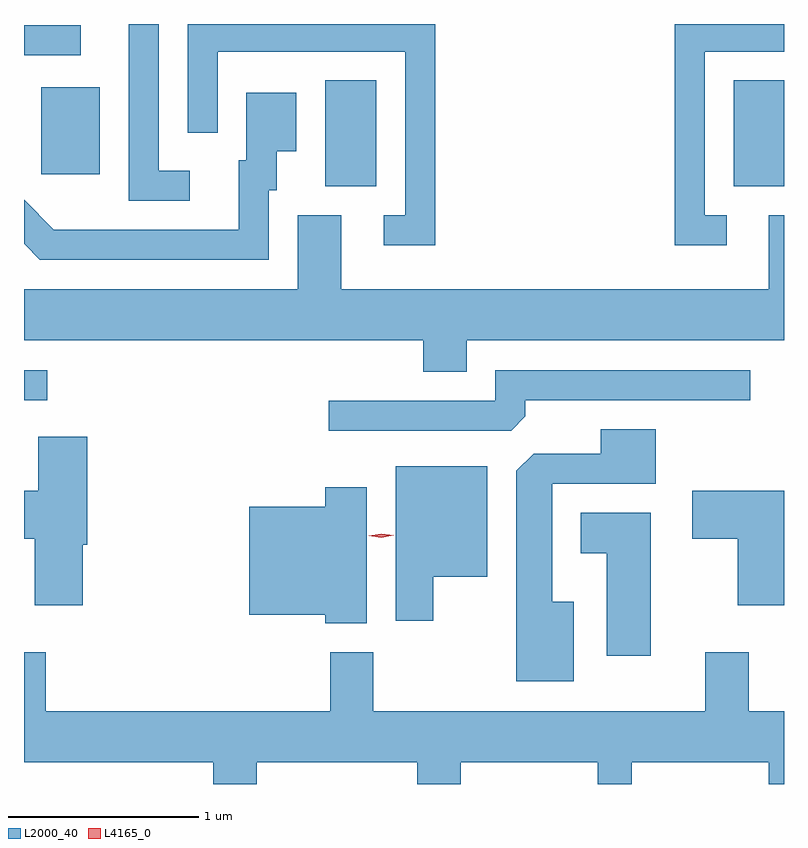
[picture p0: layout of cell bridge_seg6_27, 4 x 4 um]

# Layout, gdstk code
import gdstk
lib = gdstk.Library(unit=1e-6, precision=1e-09)
def R(c, l, rs):  # rectangles x0, y0, x1, y1
    for r in rs: c.add(gdstk.rectangle(r[:2], r[2:], *l))
def P(c, l, *ps):  # polygons
    for p in ps: c.add(gdstk.Polygon(p, *l))
L2000_40 = (2000, 40)
L4165_0 = (4165, 0)

bridge_seg6_27 = lib.new_cell('bridge_seg6_27')
R(bridge_seg6_27, L2000_40, [(1788.06,1649.621,1788.183,1649.779), (1789.646,1650.746,1789.914,1651.304), (1791.796,1650.746,1792.06,1651.304), (1788.151,1650.811,1788.459,1651.269), (1788.06,1651.436,1788.358,1651.594)])
P(bridge_seg6_27, L2000_40, [(1788.933,1650.829),(1788.769,1650.829),(1788.769,1651.601),(1788.611,1651.601),(1788.611,1650.671),(1788.933,1650.671)],
  [(1791.758,1650.594),(1791.644,1650.594),(1791.644,1651.456),(1792.06,1651.456),(1792.06,1651.601),(1791.486,1651.601),(1791.486,1650.436),(1791.758,1650.436)],
  [(1790.224,1651.601),(1788.921,1651.601),(1788.921,1651.028),(1789.079,1651.028),(1789.079,1651.456),(1790.066,1651.456),(1790.066,1650.594),(1789.953,1650.594),(1789.953,1650.436),(1790.224,1650.436)],
  [(1789.349,1650.726),(1789.389,1650.726),(1789.389,1650.931),(1789.494,1650.931),(1789.494,1651.239),(1789.231,1651.239),(1789.231,1650.884),(1789.191,1650.884),(1789.191,1650.519),(1788.217,1650.519),(1788.06,1650.676),(1788.06,1650.445),(1788.144,1650.361),(1789.349,1650.361)],
  [(1790.389,1649.936),(1792.06,1649.936),(1792.06,1650.594),(1791.981,1650.594),(1791.981,1650.204),(1789.729,1650.204),(1789.729,1650.594),(1789.501,1650.594),(1789.501,1650.204),(1788.06,1650.204),(1788.06,1649.936),(1790.161,1649.936),(1790.161,1649.771),(1790.389,1649.771)],
  [(1790.699,1649.537),(1790.699,1649.621),(1791.883,1649.621),(1791.883,1649.779),(1790.541,1649.779),(1790.541,1649.619),(1789.663,1649.619),(1789.663,1649.461),(1790.624,1649.461)],
  [(1790.954,1648.559),(1790.839,1648.559),(1790.839,1649.181),(1791.384,1649.181),(1791.384,1649.469),(1791.096,1649.469),(1791.096,1649.339),(1790.742,1649.339),(1790.651,1649.249),(1790.651,1648.141),(1790.954,1648.141)],
  [(1788.369,1648.861),(1788.394,1648.861),(1788.394,1649.429),(1788.136,1649.429),(1788.136,1649.144),(1788.06,1649.144),(1788.06,1648.891),(1788.116,1648.891),(1788.116,1648.541),(1788.369,1648.541)],
  [(1790.214,1648.691),(1790.499,1648.691),(1790.499,1649.274),(1790.016,1649.274),(1790.016,1648.461),(1790.214,1648.461)],
  [(1789.864,1649.164),(1789.646,1649.164),(1789.646,1649.059),(1789.246,1649.059),(1789.246,1648.491),(1789.646,1648.491),(1789.646,1648.446),(1789.864,1648.446)],
  [(1792.06,1649.144),(1791.576,1649.144),(1791.576,1648.891),(1791.816,1648.891),(1791.816,1648.541),(1792.06,1648.541)],
  [(1791.359,1649.029),(1790.991,1649.029),(1790.991,1648.816),(1791.126,1648.816),(1791.126,1648.276),(1791.359,1648.276)],
  [(1789.284,1647.716),(1790.131,1647.716),(1790.131,1647.601),(1790.359,1647.601),(1790.359,1647.716),(1791.081,1647.716),(1791.081,1647.601),(1791.259,1647.601),(1791.259,1647.716),(1791.981,1647.716),(1791.981,1647.601),(1792.06,1647.601),(1792.06,1647.984),(1791.874,1647.984),(1791.874,1648.294),(1791.646,1648.294),(1791.646,1647.984),(1789.899,1647.984),(1789.899,1648.294),(1789.671,1648.294),(1789.671,1647.984),(1788.174,1647.984),(1788.174,1648.294),(1788.06,1648.294),(1788.06,1647.716),(1789.056,1647.716),(1789.056,1647.601),(1789.284,1647.601)])
P(bridge_seg6_27, L4165_0, [(1789.94,1648.898),(1789.874,1648.907),(1789.873,1648.907),(1789.874,1648.908),(1789.939,1648.918),(1790.006,1648.91),(1790.006,1648.909),(1790.006,1648.909)])

lib.write_gds('bridge_seg6_27.gds')
